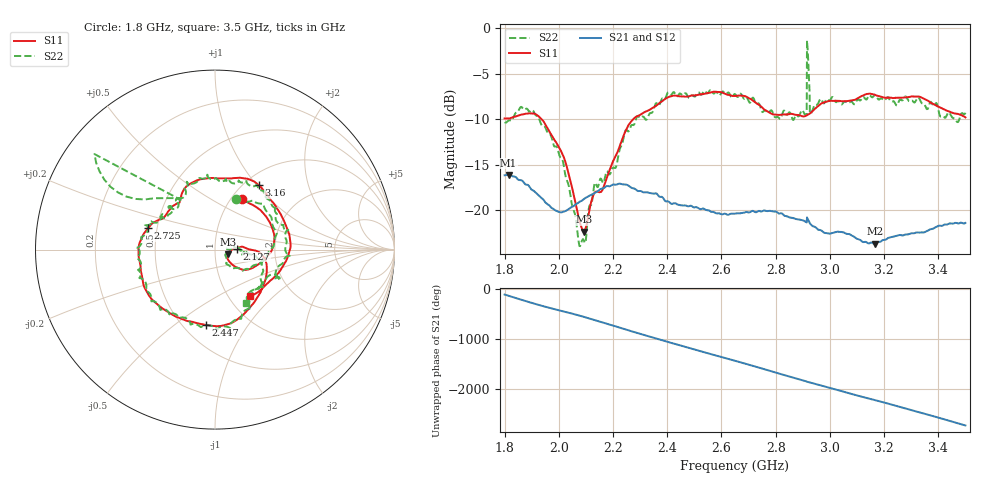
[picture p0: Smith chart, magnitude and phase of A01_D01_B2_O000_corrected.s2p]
! Created with skrf 1.9.0 (http://scikit-rf.org).
# Hz S RI R 50.0
!freq ReS11 ImS11 ReS21 ImS21 ReS12 ImS12 ReS22 ImS22
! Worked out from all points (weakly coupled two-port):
!   1601 points, 1.8 GHz to 3.5 GHz, reference 50 ohm
!   highest |S21| = -16.10 dB at 1.815 GHz (marker M1); lowest = -23.7 dB at 3.165 GHz (marker M2)
!   lowest |S11| = -22.3 dB at 2.092 GHz (marker M3), VSWR 1.17, Z = 57.7 - j2.98 ohm
!   |S11| at or under -10 dB: 1.937 GHz to 2.274 GHz (336.8 MHz wide, 16 % of centre)
!   |S22| runs from -23.9 to -1.3 dB; largest |S21 - S12| = 0.0031
!   S11 on the Smith chart (normalised r, x): 1.8 GHz: 1.12, +0.70; 2.127 GHz: 1.28, +0.01; 2.447 GHz: 0.64, -0.66; 2.725 GHz: 0.45, +0.12; 3.16 GHz: 1.16, +1.03; 3.5 GHz: 1.26, -0.72
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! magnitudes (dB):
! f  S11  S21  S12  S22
! 1.8 GHz  -9.9  -16.1  -16.1  -10.3
! 1.815 GHz  -9.9  -16.1  -16.1  -10.1
! 1.902 GHz  -9.4  -17.8  -17.7  -9.0
! 1.968 GHz  -11.5  -19.6  -19.6  -11.7
! 2.022 GHz  -14.5  -20.1  -20.1  -15.8
! 2.084 GHz  -21.9  -19.0  -18.9  -23.4
! 2.092 GHz  -22.3  -18.8  -18.8  -23.3
! 2.127 GHz  -18.3  -18.2  -18.2  -17.9
! 2.208 GHz  -14.1  -17.2  -17.2  -15.3
! 2.261 GHz  -10.4  -17.4  -17.4  -11.1
! 2.367 GHz  -8.3  -18.4  -18.3  -8.5
! 2.447 GHz  -7.5  -19.4  -19.4  -7.2
! 2.65 GHz  -7.4  -20.4  -20.3  -7.2
! 2.725 GHz  -8.2  -20.2  -20.2  -8.2
! 2.868 GHz  -9.5  -20.9  -20.9  -10.0
! 2.906 GHz  -9.7  -21.2  -21.2  -9.4
! 2.924 GHz  -9.4  -21.3  -21.3  -6.4
! 2.934 GHz  -9.2  -21.7  -21.6  -9.2
! 3.16 GHz  -7.2  -23.6  -23.6  -7.5
! 3.165 GHz  -7.3  -23.7  -23.6  -7.3
! 3.217 GHz  -7.6  -23.0  -23.0  -7.7
! 3.5 GHz  -9.8  -21.4  -21.4  -9.3
